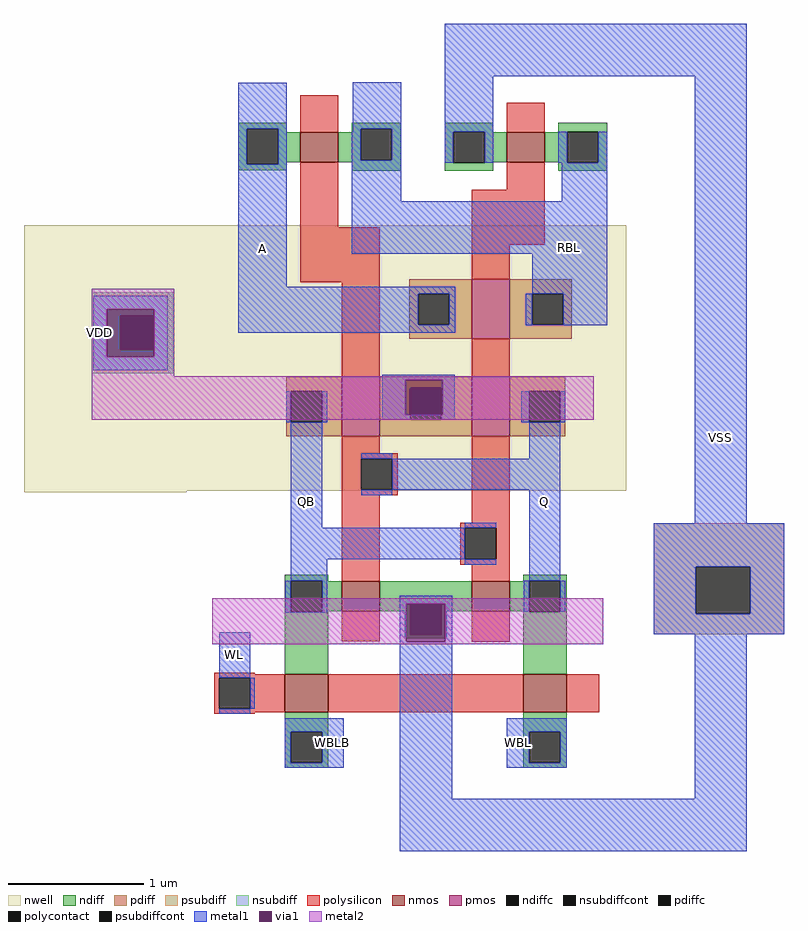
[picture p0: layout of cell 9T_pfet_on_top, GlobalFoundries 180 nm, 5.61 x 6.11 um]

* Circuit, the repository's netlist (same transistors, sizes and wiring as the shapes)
** sch_path: /workspace/analog/designs/9T_03v3.sch
.subckt 9T_pfet_on_top RBL VSS VDD WL WBL WBLB Q QB A
*.PININFO RBL:O VSS:I VDD:I WL:I WBL:I WBLB:I Q:O QB:O A:I
XM1 RBL QB VSS VSS nfet_03v3 L=0.28u W=0.22u nf=1
XPD1 QB Q VSS VSS nfet_03v3 L=0.28u W=0.22u nf=1
XPU1 QB Q VDD VDD pfet_03v3 L=0.28u W=0.44u nf=1
XAX1 WBLB WL QB VSS nfet_03v3 L=0.28u W=0.32u nf=1
XAX2 WBL WL Q VSS nfet_03v3 L=0.28u W=0.32u nf=1
XPU2 Q QB VDD VDD pfet_03v3 L=0.28u W=0.44u nf=1
XPD2 Q QB VSS VSS nfet_03v3 L=0.28u W=0.22u nf=1
XM2 RBL QB A VDD pfet_03v3 L=0.28u W=0.44u nf=1
XM3 A Q RBL VSS nfet_03v3 L=0.28u W=0.22u nf=1
.ends

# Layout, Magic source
magic
tech gf180mcuD
magscale 1 10
<< nwell >>
rect -422 -78 467 314
rect -422 -80 -182 -78
<< nmos >>
rect -14 407 42 451
rect 291 407 347 451
rect 47 -256 103 -212
rect 239 -256 295 -212
rect -37 -405 27 -349
rect 315 -405 379 -349
<< pmos >>
rect 239 146 295 234
rect 47 2 103 90
rect 239 2 295 90
<< ndiff >>
rect -106 456 -34 465
rect -106 404 -93 456
rect -47 451 -34 456
rect 62 456 134 465
rect 62 451 75 456
rect -47 407 -14 451
rect 42 410 75 451
rect 121 410 134 456
rect 42 407 134 410
rect -47 404 -34 407
rect -106 395 -34 404
rect 62 394 134 407
rect 199 452 271 465
rect 199 406 212 452
rect 258 451 271 452
rect 367 452 439 465
rect 367 451 380 452
rect 258 407 291 451
rect 347 407 380 451
rect 258 406 271 407
rect 199 394 271 406
rect 367 406 380 407
rect 426 406 439 452
rect 367 394 439 406
rect -37 -211 27 -202
rect -37 -257 -28 -211
rect 18 -212 27 -211
rect 315 -211 379 -202
rect 315 -212 324 -211
rect 18 -256 47 -212
rect 103 -245 239 -212
rect 103 -256 148 -245
rect 18 -257 27 -256
rect -37 -349 27 -257
rect 140 -291 148 -256
rect 194 -256 239 -245
rect 295 -256 324 -212
rect 194 -291 202 -256
rect 140 -296 202 -291
rect 315 -257 324 -256
rect 370 -257 379 -211
rect 315 -349 379 -257
rect -37 -434 27 -405
rect -37 -480 -28 -434
rect 18 -480 27 -434
rect -37 -487 27 -480
rect 315 -434 379 -405
rect 315 -480 324 -434
rect 370 -480 379 -434
rect 315 -487 379 -480
<< pdiff >>
rect 147 213 239 234
rect 147 167 160 213
rect 206 167 239 213
rect 147 146 239 167
rect 295 213 387 234
rect 295 167 328 213
rect 374 167 387 213
rect 295 146 387 167
rect -35 69 47 90
rect -35 23 -28 69
rect 18 23 47 69
rect -35 2 47 23
rect 103 73 239 90
rect 103 27 148 73
rect 194 27 239 73
rect 103 2 239 27
rect 295 69 377 90
rect 295 23 324 69
rect 370 23 377 69
rect 295 2 377 23
<< ndiffc >>
rect -93 404 -47 456
rect 75 410 121 456
rect 212 406 258 452
rect 380 406 426 452
rect -28 -257 18 -211
rect 148 -291 194 -245
rect 324 -257 370 -211
rect -28 -480 18 -434
rect 324 -480 370 -434
<< pdiffc >>
rect 160 167 206 213
rect 328 167 374 213
rect -28 23 18 69
rect 148 27 194 73
rect 324 23 370 69
<< psubdiff >>
rect 508 -190 700 -126
rect 508 -260 570 -190
rect 650 -260 700 -190
rect 508 -290 700 -260
<< nsubdiff >>
rect -322 180 -202 215
rect -322 130 -280 180
rect -230 130 -202 180
rect -322 95 -202 130
<< psubdiffcont >>
rect 570 -260 650 -190
<< nsubdiffcont >>
rect -280 130 -230 180
<< polysilicon >>
rect -14 451 42 506
rect -14 311 42 407
rect 291 451 347 495
rect 291 366 347 407
rect -14 230 103 311
rect 239 285 347 366
rect 239 234 295 285
rect 47 90 103 230
rect 239 90 295 146
rect 47 -23 103 2
rect 47 -31 130 -23
rect 47 -77 76 -31
rect 122 -77 130 -31
rect 47 -85 130 -77
rect 47 -212 103 -85
rect 239 -125 295 2
rect 222 -133 295 -125
rect 222 -179 229 -133
rect 275 -179 295 -133
rect 222 -187 295 -179
rect 239 -212 295 -187
rect -141 -349 -81 -347
rect 47 -300 103 -256
rect 239 -301 295 -256
rect -141 -354 -37 -349
rect -141 -400 -134 -354
rect -88 -400 -37 -354
rect -141 -405 -37 -400
rect 27 -405 315 -349
rect 379 -405 427 -349
rect -141 -407 -81 -405
<< polycontact >>
rect 76 -77 122 -31
rect 229 -179 275 -133
rect -134 -400 -88 -354
<< metal1 >>
rect 199 534 645 611
rect -106 456 -34 524
rect -106 404 -93 456
rect -47 404 -34 456
rect 63 456 135 525
rect 63 451 75 456
rect -106 223 -34 404
rect 62 410 75 451
rect 121 410 135 456
rect 62 349 135 410
rect 199 452 271 534
rect 199 406 212 452
rect 258 406 271 452
rect 367 406 380 452
rect 426 406 439 452
rect 372 349 439 406
rect 62 272 439 349
rect -106 213 215 223
rect 328 213 439 272
rect -320 190 -210 210
rect -320 120 -300 190
rect -230 120 -210 190
rect -106 167 160 213
rect 206 167 215 213
rect -106 155 215 167
rect 319 167 328 213
rect 374 167 439 213
rect 319 166 439 167
rect -320 100 -210 120
rect 107 86 214 93
rect -35 23 -28 69
rect 18 23 26 69
rect 107 34 141 86
rect 196 34 214 86
rect 107 27 148 34
rect 194 27 214 34
rect 312 23 324 69
rect 370 23 377 69
rect -28 -133 18 23
rect 76 -31 122 -23
rect 324 -31 370 23
rect 122 -77 370 -31
rect 76 -85 122 -77
rect 229 -133 275 -125
rect -28 -179 229 -133
rect -28 -211 26 -179
rect 229 -187 275 -179
rect 324 -211 370 -77
rect 568 -126 645 534
rect 508 -190 700 -126
rect -36 -257 -28 -211
rect 18 -257 26 -211
rect -36 -258 26 -257
rect 133 -245 210 -233
rect -134 -354 -88 -287
rect 133 -301 142 -245
rect 200 -301 210 -245
rect 316 -257 324 -211
rect 370 -257 377 -211
rect 508 -260 570 -190
rect 650 -260 700 -190
rect 508 -290 700 -260
rect -88 -400 -81 -354
rect -134 -407 -88 -400
rect -37 -434 50 -414
rect -37 -480 -28 -434
rect 18 -480 50 -434
rect -37 -487 50 -480
rect 133 -533 210 -301
rect 291 -434 379 -414
rect 291 -480 324 -434
rect 370 -480 379 -434
rect 291 -487 379 -480
rect 568 -533 645 -290
rect 133 -610 645 -533
<< via1 >>
rect -300 180 -230 190
rect -300 130 -280 180
rect -280 130 -230 180
rect -300 120 -230 130
rect 141 73 196 86
rect 141 34 148 73
rect 148 34 194 73
rect 194 34 196 73
rect 142 -291 148 -245
rect 148 -291 194 -245
rect 194 -291 200 -245
rect 142 -301 200 -291
<< metal2 >>
rect -322 190 -200 220
rect -322 120 -300 190
rect -230 120 -200 190
rect -322 91 -200 120
rect -322 86 419 91
rect -322 34 141 86
rect 196 34 419 86
rect -322 27 419 34
rect -144 -245 433 -237
rect -144 -301 142 -245
rect 200 -301 433 -245
rect -144 -305 433 -301
<< labels >>
flabel metal1 s 291 -487 324 -414 0 FreeSans 160 0 0 0 WBL
port 2 nsew
flabel metal1 s 18 -487 50 -414 0 FreeSans 160 0 0 0 WBLB
port 3 nsew
flabel metal1 s 324 -211 370 23 0 FreeSans 160 0 0 0 Q
port 4 nsew
flabel metal1 s -28 -211 18 23 0 FreeSans 160 0 0 0 QB
port 6 nsew
flabel metal1 -106 155 -34 404 0 FreeSans 160 0 0 0 A
port 10 nsew
flabel metal1 s -134 -354 -88 -287 0 FreeSans 160 0 0 0 WL
port 1 nsew
flabel metal1 328 213 439 349 0 FreeSans 160 0 0 0 RBL
port 8 nsew
flabel metal1 568 -610 645 611 0 FreeSans 160 0 0 0 VSS
port 0 nsew
flabel metal1 -320 100 -300 210 0 FreeSans 160 0 0 0 VDD
port 12 nsew
flabel metal1 -320 100 -300 210 0 FreeSans 160 0 0 0 VDD
port 11 nsew
<< end >>
